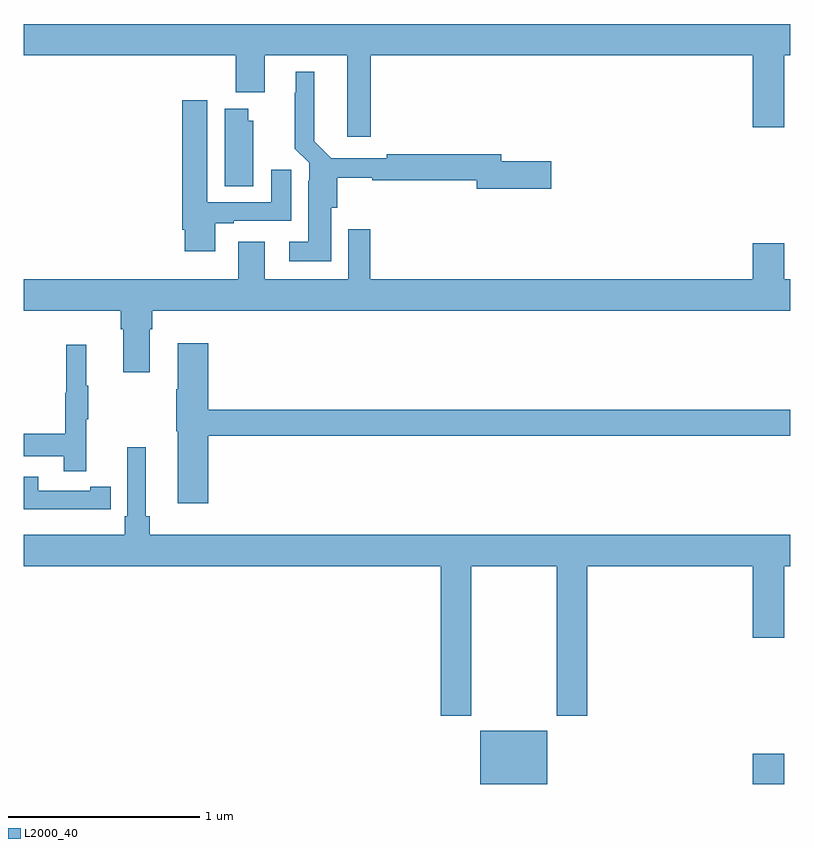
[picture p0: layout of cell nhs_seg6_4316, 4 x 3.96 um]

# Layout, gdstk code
import gdstk
lib = gdstk.Library(unit=1e-6, precision=1e-09)
def R(c, l, rs):  # rectangles x0, y0, x1, y1
    for r in rs: c.add(gdstk.rectangle(r[:2], r[2:], *l))
def P(c, l, *ps):  # polygons
    for p in ps: c.add(gdstk.Polygon(p, *l))
L2000_40 = (2000, 40)

nhs_seg6_4316 = lib.new_cell('nhs_seg6_4316')
R(nhs_seg6_4316, L2000_40, [(367.382,979.5,367.732,979.777), (368.804,979.5,368.968,979.657)])
P(nhs_seg6_4316, L2000_40, [(366.812,983.3),(368.804,983.3),(368.804,982.926),(368.968,982.926),(368.968,983.3),(369,983.3),(369,983.464),(365,983.464),(365,983.3),(366.107,983.3),(366.107,983.108),(366.259,983.108),(366.259,983.3),(366.689,983.3),(366.689,982.875),(366.812,982.875)],
  [(366.604,982.506),(366.635,982.506),(366.635,982.663),(366.818,982.663),(366.818,982.648),(367.364,982.648),(367.364,982.606),(367.753,982.606),(367.753,982.748),(367.492,982.748),(367.492,982.784),(366.895,982.784),(366.895,982.764),(366.604,982.764),(366.517,982.852),(366.517,983.215),(366.419,983.215),(366.419,983.105),(366.415,983.105),(366.415,982.814),(366.489,982.74),(366.489,982.646),(366.485,982.646),(366.485,982.327),(366.387,982.327),(366.387,982.226),(366.604,982.226)],
  [(366.001,982.425),(366.097,982.425),(366.097,982.437),(366.397,982.437),(366.397,982.705),(366.293,982.705),(366.293,982.533),(365.959,982.533),(365.959,983.065),(365.828,983.065),(365.828,982.39),(365.84,982.39),(365.84,982.278),(366.001,982.278)],
  [(366.199,982.959),(366.172,982.959),(366.172,983.023),(366.05,983.023),(366.05,982.618),(366.199,982.618)],
  [(365.659,981.872),(365.672,981.872),(365.672,981.968),(369,981.968),(369,982.132),(368.968,982.132),(368.968,982.321),(368.804,982.321),(368.804,982.132),(366.809,982.132),(366.809,982.393),(366.693,982.393),(366.693,982.132),(366.259,982.132),(366.259,982.327),(366.119,982.327),(366.119,982.132),(365,982.132),(365,981.968),(365.507,981.968),(365.507,981.872),(365.519,981.872),(365.519,981.648),(365.659,981.648)],
  [(365.963,981.316),(369,981.316),(369,981.452),(365.963,981.452),(365.963,981.799),(365.804,981.799),(365.804,981.56),(365.797,981.56),(365.797,981.339),(365.804,981.339),(365.804,980.964),(365.963,980.964)],
  [(365.327,981.403),(365.338,981.403),(365.338,981.577),(365.327,981.577),(365.327,981.79),(365.224,981.79),(365.224,981.54),(365.217,981.54),(365.217,981.326),(365,981.326),(365,981.21),(365.209,981.21),(365.209,981.132),(365.327,981.132)],
  [(367.335,980.636),(367.78,980.636),(367.78,979.857),(367.94,979.857),(367.94,980.636),(368.804,980.636),(368.804,980.262),(368.968,980.262),(368.968,980.636),(369,980.636),(369,980.8),(365.657,980.8),(365.657,980.896),(365.638,980.896),(365.638,981.256),(365.541,981.256),(365.541,980.896),(365.528,980.896),(365.528,980.8),(365,980.8),(365,980.636),(367.175,980.636),(367.175,979.857),(367.335,979.857)],
  [(365.348,980.934),(365.456,980.934),(365.456,981.05),(365.348,981.05),(365.348,981.03),(365.076,981.03),(365.076,981.102),(365,981.102),(365,980.933),(365.348,980.933)])

lib.write_gds('nhs_seg6_4316.gds')
